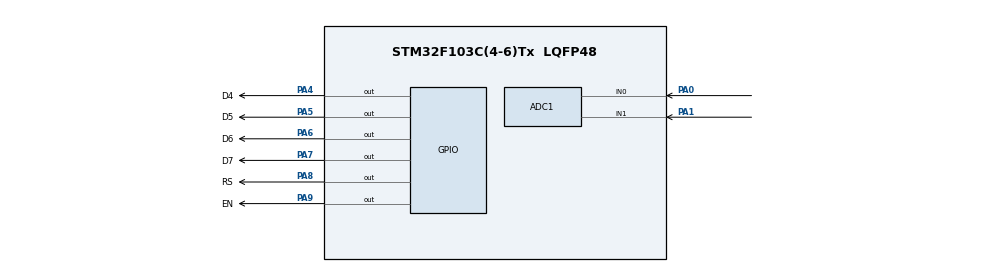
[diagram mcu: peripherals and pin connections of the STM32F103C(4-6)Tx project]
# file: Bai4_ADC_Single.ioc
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ADC1.Channel-0\#ChannelRegularConversion=ADC_CHANNEL_0
ADC1.Channel-1\#ChannelRegularConversion=ADC_CHANNEL_1
ADC1.ContinuousConvMode=ENABLE
ADC1.NbrOfConversion=2
ADC1.NbrOfConversionFlag=1
ADC1.Rank-0\#ChannelRegularConversion=1
ADC1.Rank-1\#ChannelRegularConversion=2
ADC1.SamplingTime-0\#ChannelRegularConversion=ADC_SAMPLETIME_71CYCLES_5
ADC1.SamplingTime-1\#ChannelRegularConversion=ADC_SAMPLETIME_239CYCLES_5
ADC1.master=1
Mcu.Family=STM32F1
Mcu.Name=STM32F103C(4-6)Tx
Mcu.Package=LQFP48
NVIC.ADC1_2_IRQn=true\:0\:0\:false\:false\:true\:true\:true
NVIC.PriorityGroup=NVIC_PRIORITYGROUP_4
PA0-WKUP.Signal=ADCx_IN0
PA1.Signal=ADCx_IN1
PA13.Mode=Serial_Wire
PA13.Signal=SYS_JTMS-SWDIO
PA14.Mode=Serial_Wire
PA14.Signal=SYS_JTCK-SWCLK
PA4.GPIO_Label=D4
PA4.Signal=GPIO_Output
PA5.GPIO_Label=D5
PA5.Signal=GPIO_Output
PA6.GPIO_Label=D6
PA6.Signal=GPIO_Output
PA7.GPIO_Label=D7
PA7.Signal=GPIO_Output
PA8.GPIO_Label=RS
PA8.Signal=GPIO_Output
PA9.GPIO_Label=EN
PA9.Signal=GPIO_Output
ProjectManager.HeapSize=0x200
ProjectManager.StackSize=0x400
ProjectManager.TargetToolchain=MDK-ARM V5
RCC.APB1Freq_Value=8000000
RCC.APB2Freq_Value=8000000
SH.ADCx_IN0.0=ADC1_IN0,IN0
SH.ADCx_IN1.0=ADC1_IN1,IN1
board=custom

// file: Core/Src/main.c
/* USER CODE BEGIN Header */
/**
  ******************************************************************************
  * @file           : main.c
  * @brief          : Main program body
  ******************************************************************************
  * @attention
  *
  * <h2><center>&copy; Copyright (c) 2021 STMicroelectronics.
  * All rights reserved.</center></h2>
  *
  * This software component is licensed by ST under BSD 3-Clause license,
  * the "License"; You may not use this file except in compliance with the
  * License. You may obtain a copy of the License at:
  *                        opensource.org/licenses/BSD-3-Clause
  *
  ******************************************************************************
  */
/* USER CODE END Header */
#include "main.h"

/* USER CODE BEGIN Includes */
#include "CLCD.h"
#include <stdio.h>
/* USER CODE END Includes */

ADC_HandleTypeDef hadc1;

void SystemClock_Config(void);
static void MX_GPIO_Init(void);
static void MX_ADC1_Init(void);

/* USER CODE BEGIN 0 */
CLCD_Name LCD1;
char LCD_send[16];
uint16_t ADC_Val[2];
float Temp_hot;
float Temp_cold;
uint8_t boolean = 0;
void ADC_Select_CH0(void)
{
  /** Configure Regular Channel
  */
	ADC_ChannelConfTypeDef sConfig = {0};

  sConfig.Channel = ADC_CHANNEL_0;
  sConfig.Rank = ADC_REGULAR_RANK_1;
  sConfig.SamplingTime = ADC_SAMPLETIME_71CYCLES_5;
  if (HAL_ADC_ConfigChannel(&hadc1, &sConfig) != HAL_OK)
  {
    Error_Handler();
  }
}
void ADC_Select_CH1(void)
{
  /** Configure Regular Channel
  */
	ADC_ChannelConfTypeDef sConfig = {0};

  sConfig.Channel = ADC_CHANNEL_1;
  sConfig.Rank = ADC_REGULAR_RANK_1;
  sConfig.SamplingTime = ADC_SAMPLETIME_239CYCLES_5;
  if (HAL_ADC_ConfigChannel(&hadc1, &sConfig) != HAL_OK)
  {
    Error_Handler();
  }
}
void HAL_ADC_ConvCpltCallback(ADC_HandleTypeDef* hadc)
{
  /* Prevent unused argument(s) compilation warning */
  if(hadc->Instance == ADC1)
	{
		if(boolean == 0)
		{
			ADC_Val[0] = HAL_ADC_GetValue(&hadc1);
		}
		if(boolean == 1)
		{
			ADC_Val[1] = HAL_ADC_GetValue(&hadc1);
		}
	}
}
/* USER CODE END 0 */

int main(void)
{

  /* MCU Configuration--------------------------------------------------------*/

  /* Reset of all peripherals, Initializes the Flash interface and the Systick. */
  HAL_Init();

  /* Configure the system clock */
  SystemClock_Config();

  /* Initialize all configured peripherals */
  MX_GPIO_Init();
  MX_ADC1_Init();
  /* USER CODE BEGIN 2 */
	CLCD_4BIT_Init(&LCD1,16,2,RS_GPIO_Port, RS_Pin, EN_GPIO_Port, EN_Pin,
									D4_GPIO_Port, D4_Pin, D5_GPIO_Port, D5_Pin,
									D6_GPIO_Port, D6_Pin, D7_GPIO_Port, D7_Pin);

  /* USER CODE END 2 */

  /* Infinite loop */
  while (1)
  {

    /* USER CODE BEGIN 3 */
		ADC_Select_CH0();
		boolean = 0;
		HAL_ADC_Start_IT(&hadc1);
		HAL_Delay(10);

		ADC_Select_CH1();
		boolean = 1;
		HAL_ADC_Start_IT(&hadc1);
		HAL_Delay(10);

		CLCD_SetCursor(&LCD1, 0, 0);
		CLCD_WriteString(&LCD1, "ADC1: ");
		CLCD_SetCursor(&LCD1, 7, 0);
		CLCD_WriteString(&LCD1, "ADC2: ");
		CLCD_SetCursor(&LCD1,0,1);
		sprintf(LCD_send,"%d",ADC_Val[0]);
		CLCD_WriteString(&LCD1,LCD_send);
		CLCD_SetCursor(&LCD1,7,1);
		sprintf(LCD_send,"%d",ADC_Val[1]);
		CLCD_WriteString(&LCD1,LCD_send);
		HAL_Delay(1000);
  }
  /* USER CODE END 3 */
}

void SystemClock_Config(void)
{
  RCC_OscInitTypeDef RCC_OscInitStruct = {0};
  RCC_ClkInitTypeDef RCC_ClkInitStruct = {0};
  RCC_PeriphCLKInitTypeDef PeriphClkInit = {0};

  /** Initializes the RCC Oscillators according to the specified parameters
  * in the RCC_OscInitTypeDef structure.
  */
  RCC_OscInitStruct.OscillatorType = RCC_OSCILLATORTYPE_HSI;
  RCC_OscInitStruct.HSIState = RCC_HSI_ON;
  RCC_OscInitStruct.HSICalibrationValue = RCC_HSICALIBRATION_DEFAULT;
  RCC_OscInitStruct.PLL.PLLState = RCC_PLL_NONE;
  if (HAL_RCC_OscConfig(&RCC_OscInitStruct) != HAL_OK)
  {
    Error_Handler();
  }
  /** Initializes the CPU, AHB and APB buses clocks
  */
  RCC_ClkInitStruct.ClockType = RCC_CLOCKTYPE_HCLK|RCC_CLOCKTYPE_SYSCLK
                              |RCC_CLOCKTYPE_PCLK1|RCC_CLOCKTYPE_PCLK2;
  RCC_ClkInitStruct.SYSCLKSource = RCC_SYSCLKSOURCE_HSI;
  RCC_ClkInitStruct.AHBCLKDivider = RCC_SYSCLK_DIV1;
  RCC_ClkInitStruct.APB1CLKDivider = RCC_HCLK_DIV1;
  RCC_ClkInitStruct.APB2CLKDivider = RCC_HCLK_DIV1;

  if (HAL_RCC_ClockConfig(&RCC_ClkInitStruct, FLASH_LATENCY_0) != HAL_OK)
  {
    Error_Handler();
  }
  PeriphClkInit.PeriphClockSelection = RCC_PERIPHCLK_ADC;
  PeriphClkInit.AdcClockSelection = RCC_ADCPCLK2_DIV2;
  if (HAL_RCCEx_PeriphCLKConfig(&PeriphClkInit) != HAL_OK)
  {
    Error_Handler();
  }
}

static void MX_ADC1_Init(void)
{

  ADC_ChannelConfTypeDef sConfig = {0};

  /** Common config
  */
  hadc1.Instance = ADC1;
  hadc1.Init.ScanConvMode = ADC_SCAN_ENABLE;
  hadc1.Init.ContinuousConvMode = ENABLE;
  hadc1.Init.DiscontinuousConvMode = DISABLE;
  hadc1.Init.ExternalTrigConv = ADC_SOFTWARE_START;
  hadc1.Init.DataAlign = ADC_DATAALIGN_RIGHT;
  hadc1.Init.NbrOfConversion = 1;
  if (HAL_ADC_Init(&hadc1) != HAL_OK)
  {
    Error_Handler();
  }
//  /** Configure Regular Channel
//  */
//  sConfig.Channel = ADC_CHANNEL_0;
//  sConfig.Rank = ADC_REGULAR_RANK_1;
//  sConfig.SamplingTime = ADC_SAMPLETIME_71CYCLES_5;
//  if (HAL_ADC_ConfigChannel(&hadc1, &sConfig) != HAL_OK)
//  {
//    Error_Handler();
//  }
//  /** Configure Regular Channel
//  */
//  sConfig.Channel = ADC_CHANNEL_1;
//  sConfig.Rank = ADC_REGULAR_RANK_2;
//  sConfig.SamplingTime = ADC_SAMPLETIME_239CYCLES_5;
//  if (HAL_ADC_ConfigChannel(&hadc1, &sConfig) != HAL_OK)
//  {
//    Error_Handler();
//  }
//  /* USER CODE BEGIN ADC1_Init 2 */

  /* USER CODE END ADC1_Init 2 */

}

static void MX_GPIO_Init(void)
{
  GPIO_InitTypeDef GPIO_InitStruct = {0};

  /* GPIO Ports Clock Enable */
  __HAL_RCC_GPIOA_CLK_ENABLE();

  /*Configure GPIO pin Output Level */
  HAL_GPIO_WritePin(GPIOA, D4_Pin|D5_Pin|D6_Pin|D7_Pin
                          |RS_Pin|EN_Pin, GPIO_PIN_RESET);

  /*Configure GPIO pins : D4_Pin D5_Pin D6_Pin D7_Pin
                           RS_Pin EN_Pin */
  GPIO_InitStruct.Pin = D4_Pin|D5_Pin|D6_Pin|D7_Pin
                          |RS_Pin|EN_Pin;
  GPIO_InitStruct.Mode = GPIO_MODE_OUTPUT_PP;
  GPIO_InitStruct.Pull = GPIO_NOPULL;
  GPIO_InitStruct.Speed = GPIO_SPEED_FREQ_LOW;
  HAL_GPIO_Init(GPIOA, &GPIO_InitStruct);

}

void Error_Handler(void)
{
  __disable_irq();
  while (1)
  {
  }
}

/************************ (C) COPYRIGHT STMicroelectronics *****END OF FILE****/
